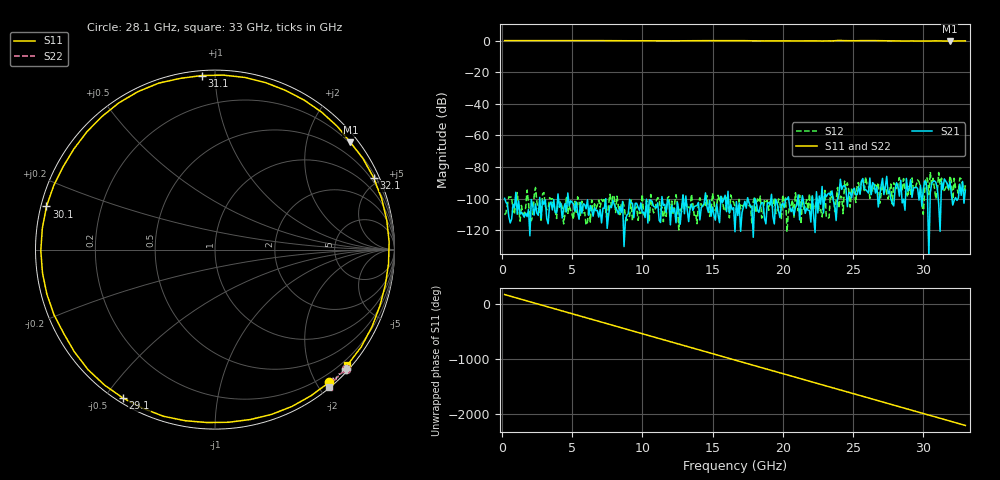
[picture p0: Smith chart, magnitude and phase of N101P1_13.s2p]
# GHZ S RI R 50
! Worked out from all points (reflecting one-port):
!   329 points, 200 MHz to 33 GHz, reference 50 ohm
!   lowest |S11| = -0.3 dB at 31.9 GHz (marker M1), VSWR 52.60, Z = 8.77 + j143 ohm
!   phase of S11 starts at 165 deg and turns -2366 deg over the sweep
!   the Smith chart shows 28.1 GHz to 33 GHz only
!   S11 on the Smith chart (normalised r, x): 28.1 GHz: 0.07, -2.18; 29.1 GHz: 0.02, -0.56; 30.1 GHz: 0.02, +0.13; 31.1 GHz: 0.03, +0.93; 32.1 GHz: 0.34, +4.61; 33 GHz: 0.08, -2.66
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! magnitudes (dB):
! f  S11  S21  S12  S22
! 200 MHz  0.0  -99.7  -110.2  0.0
! 5.7 GHz  0.0  -109.1  -101.5  0.0
! 11.2 GHz  -0.2  -113.7  -99.8  -0.1
! 16.6 GHz  0.0  -120.8  -104.8  0.1
! 19.9 GHz  -0.2  -104.0  -112.5  -0.2
! 22.1 GHz  -0.2  -98.2  -97.5  0.0
! 22.7 GHz  -0.3  -103.4  -106.8  -0.1
! 23.3 GHz  -0.2  -96.4  -111.9  0.0
! 23.5 GHz  -0.2  -95.0  -99.5  -0.1
! 24 GHz  0.1  -97.3  -106.0  0.1
! 25.1 GHz  -0.1  -93.3  -96.1  0.1
! 25.7 GHz  0.0  -87.2  -88.7  0.0
! 26.6 GHz  -0.1  -96.3  -90.4  -0.1
! 27.6 GHz  -0.1  -95.1  -94.9  0.0
! 28.1 GHz  -0.2  -89.8  -93.6  -0.1
! 28.6 GHz  -0.3  -100.3  -87.2  -0.2
! 29.1 GHz  -0.2  -87.9  -97.1  -0.1
! 30.1 GHz  -0.3  -88.8  -95.3  -0.2
! 31.1 GHz  -0.2  -103.1  -83.4  -0.1
! 31.9 GHz  -0.3  -89.4  -85.6  -0.2
! 32.1 GHz  -0.3  -104.0  -103.3  -0.1
! 33 GHz  -0.2  -94.5  -91.2  -0.1
